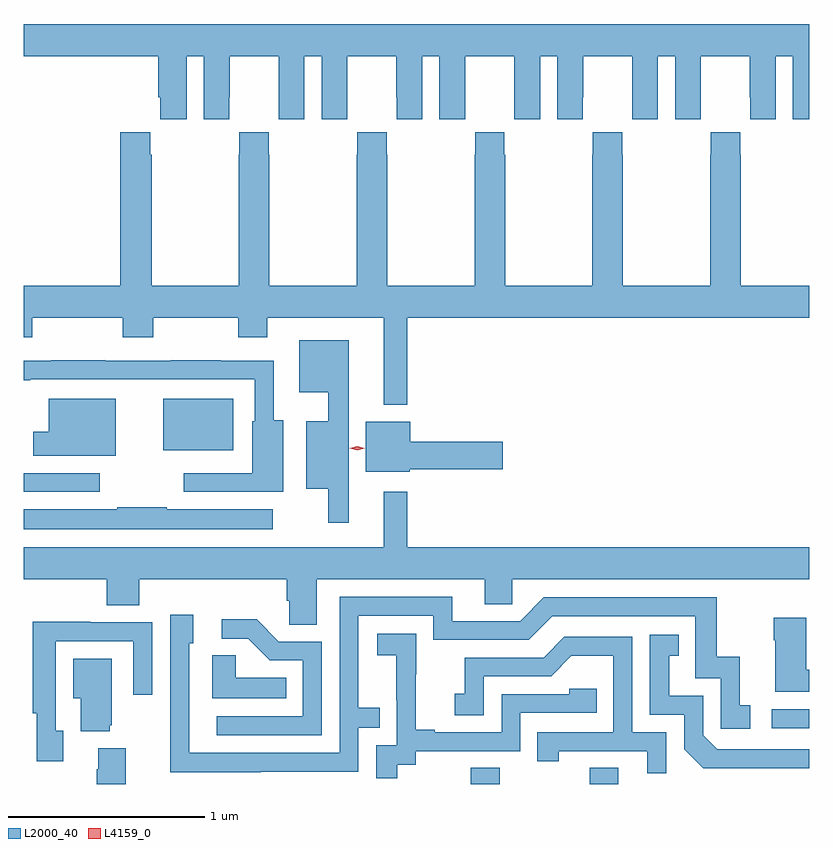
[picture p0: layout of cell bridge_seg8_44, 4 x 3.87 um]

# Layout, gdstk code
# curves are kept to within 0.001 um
import gdstk
lib = gdstk.Library(unit=1e-6, precision=1e-09)
def R(c, l, rs):  # rectangles x0, y0, x1, y1
    for r in rs: c.add(gdstk.rectangle(r[:2], r[2:], *l))
def P(c, l, *ps):  # polygons
    for p in ps: c.add(gdstk.Polygon(p, *l))
L2000_40 = (2000, 40)
L4159_0 = (4159, 0)

bridge_seg8_44 = lib.new_cell('bridge_seg8_44')
R(bridge_seg8_44, L2000_40, [(886.847,1098.142,886.995,1098.224), (887.452,1098.142,887.599,1098.224), (888.381,1098.426,888.571,1098.522), (884.571,1099.629,884.959,1099.725), (885.281,1099.841,885.637,1100.104)])
P(bridge_seg8_44, L2000_40, [(885.4,1101.848),(885.488,1101.848),(885.488,1101.528),(885.618,1101.528),(885.618,1101.64),(885.619,1101.64),(885.619,1101.848),(885.869,1101.848),(885.869,1101.64),(885.87,1101.64),(885.87,1101.528),(886,1101.528),(886,1101.848),(886.088,1101.848),(886.088,1101.528),(886.218,1101.528),(886.218,1101.64),(886.219,1101.64),(886.219,1101.848),(886.469,1101.848),(886.469,1101.64),(886.47,1101.64),(886.47,1101.528),(886.6,1101.528),(886.6,1101.848),(886.688,1101.848),(886.688,1101.528),(886.818,1101.528),(886.818,1101.64),(886.819,1101.64),(886.819,1101.848),(887.069,1101.848),(887.069,1101.64),(887.07,1101.64),(887.07,1101.528),(887.2,1101.528),(887.2,1101.848),(887.288,1101.848),(887.288,1101.528),(887.418,1101.528),(887.418,1101.64),(887.419,1101.64),(887.419,1101.848),(887.669,1101.848),(887.669,1101.64),(887.67,1101.64),(887.67,1101.528),(887.8,1101.528),(887.8,1101.848),(887.888,1101.848),(887.888,1101.528),(888.018,1101.528),(888.018,1101.64),(888.019,1101.64),(888.019,1101.848),(888.269,1101.848),(888.269,1101.64),(888.27,1101.64),(888.27,1101.528),(888.4,1101.528),(888.4,1101.848),(888.488,1101.848),(888.488,1101.528),(888.571,1101.528),(888.571,1102.012),(884.571,1102.012),(884.571,1101.848),(885.257,1101.848),(885.257,1101.64),(885.266,1101.64),(885.266,1101.528),(885.4,1101.528)],
  [(886.525,1100.516),(888.571,1100.516),(888.571,1100.68),(888.222,1100.68),(888.222,1101.347),(888.219,1101.347),(888.219,1101.46),(888.069,1101.46),(888.069,1101.347),(888.067,1101.347),(888.067,1100.68),(887.622,1100.68),(887.622,1101.347),(887.619,1101.347),(887.619,1101.46),(887.469,1101.46),(887.469,1101.347),(887.467,1101.347),(887.467,1100.68),(887.022,1100.68),(887.022,1101.347),(887.019,1101.347),(887.019,1101.46),(886.869,1101.46),(886.869,1101.347),(886.867,1101.347),(886.867,1100.68),(886.422,1100.68),(886.422,1101.347),(886.419,1101.347),(886.419,1101.46),(886.269,1101.46),(886.269,1101.347),(886.267,1101.347),(886.267,1100.68),(885.822,1100.68),(885.822,1101.347),(885.819,1101.347),(885.819,1101.46),(885.669,1101.46),(885.669,1101.347),(885.667,1101.347),(885.667,1100.68),(885.222,1100.68),(885.222,1101.347),(885.215,1101.347),(885.215,1101.46),(885.062,1101.46),(885.062,1100.68),(884.571,1100.68),(884.571,1100.417),(884.614,1100.417),(884.614,1100.516),(885.076,1100.516),(885.076,1100.417),(885.231,1100.417),(885.231,1100.516),(885.664,1100.516),(885.664,1100.417),(885.811,1100.417),(885.811,1100.516),(886.403,1100.516),(886.403,1100.072),(886.525,1100.072)],
  [(886.225,1100.401),(885.974,1100.401),(885.974,1100.138),(886.121,1100.138),(886.121,1099.99),(886.01,1099.99),(886.01,1099.646),(886.121,1099.646),(886.121,1099.473),(886.225,1099.473)],
  [(885.892,1099.993),(885.844,1099.993),(885.844,1100.298),(885.575,1100.298),(885.575,1100.3),(885.319,1100.3),(885.319,1100.298),(884.987,1100.298),(884.987,1100.3),(884.71,1100.3),(884.71,1100.298),(884.571,1100.298),(884.571,1100.197),(884.603,1100.197),(884.603,1100.202),(885.747,1100.202),(885.747,1099.989),(885.734,1099.989),(885.734,1099.725),(885.387,1099.725),(885.387,1099.629),(885.892,1099.629)],
  [(885.04,1100.104),(884.699,1100.104),(884.699,1099.936),(884.619,1099.936),(884.619,1099.814),(885.04,1099.814)],
  [(886.536,1099.744),(887.011,1099.744),(887.011,1099.886),(886.54,1099.886),(886.54,1099.987),(886.313,1099.987),(886.313,1099.733),(886.536,1099.733)],
  [(886.063,1099.184),(886.919,1099.184),(886.919,1099.057),(887.058,1099.057),(887.058,1099.184),(888.571,1099.184),(888.571,1099.348),(886.525,1099.348),(886.525,1099.63),(886.403,1099.63),(886.403,1099.348),(884.571,1099.348),(884.571,1099.184),(884.993,1099.184),(884.993,1099.051),(885.158,1099.051),(885.158,1099.184),(885.911,1099.184),(885.911,1099.075),(885.924,1099.075),(885.924,1098.952),(886.063,1098.952)],
  [(885.838,1099.54),(885.299,1099.54),(885.299,1099.55),(885.046,1099.55),(885.046,1099.54),(884.571,1099.54),(884.571,1099.439),(885.838,1099.439)],
  [(885.779,1098.204),(886.275,1098.204),(886.275,1098.429),(886.385,1098.429),(886.385,1098.53),(886.275,1098.53),(886.275,1098.999),(886.656,1098.999),(886.656,1098.876),(887.142,1098.876),(887.262,1098.996),(887.991,1098.996),(887.991,1098.681),(888.12,1098.681),(888.12,1098.423),(888.271,1098.423),(888.271,1098.543),(888.218,1098.543),(888.218,1098.79),(888.1,1098.79),(888.1,1099.092),(887.22,1099.092),(887.1,1098.972),(886.753,1098.972),(886.753,1099.095),(886.179,1099.095),(886.179,1098.3),(885.414,1098.3),(885.414,1098.858),(885.433,1098.858),(885.433,1099.003),(885.318,1099.003),(885.318,1098.509),(885.316,1098.509),(885.316,1098.203)],
  [(888.571,1098.725),(888.556,1098.725),(888.556,1098.988),(888.391,1098.988),(888.391,1098.875),(888.398,1098.875),(888.398,1098.611),(888.571,1098.611)],
  [(886.089,1098.867),(885.87,1098.867),(885.757,1098.98),(885.579,1098.98),(885.579,1098.882),(885.713,1098.882),(885.824,1098.771),(885.993,1098.771),(885.993,1098.486),(885.555,1098.486),(885.555,1098.39),(886.089,1098.39)],
  [(884.773,1098.414),(884.733,1098.414),(884.733,1098.87),(885.129,1098.87),(885.129,1098.597),(885.225,1098.597),(885.225,1098.966),(884.909,1098.966),(884.909,1098.968),(884.617,1098.968),(884.617,1098.502),(884.636,1098.502),(884.636,1098.258),(884.773,1098.258)],
  [(886.474,1098.241),(886.566,1098.241),(886.566,1098.309),(887.1,1098.309),(887.1,1098.504),(887.489,1098.504),(887.489,1098.627),(887.349,1098.627),(887.349,1098.6),(887.004,1098.6),(887.004,1098.405),(886.663,1098.405),(886.663,1098.418),(886.568,1098.418),(886.568,1098.701),(886.569,1098.701),(886.569,1098.907),(886.371,1098.907),(886.371,1098.797),(886.469,1098.797),(886.469,1098.569),(886.47,1098.569),(886.47,1098.339),(886.365,1098.339),(886.365,1098.171),(886.474,1098.171)],
  [(888.44,1098.222),(888.571,1098.222),(888.571,1098.318),(888.102,1098.318),(888.03,1098.39),(888.03,1098.591),(887.857,1098.591),(887.857,1098.795),(887.906,1098.795),(887.906,1098.901),(887.76,1098.901),(887.76,1098.495),(887.934,1098.495),(887.934,1098.318),(888.032,1098.221)],
  [(887.844,1098.405),(887.67,1098.405),(887.67,1098.891),(887.324,1098.891),(887.219,1098.786),(886.816,1098.786),(886.816,1098.601),(886.767,1098.601),(886.767,1098.492),(886.914,1098.492),(886.914,1098.69),(887.256,1098.69),(887.36,1098.794),(887.574,1098.794),(887.574,1098.405),(887.185,1098.405),(887.185,1098.258),(887.296,1098.258),(887.296,1098.309),(887.747,1098.309),(887.747,1098.198),(887.844,1098.198)],
  [(885.908,1098.682),(885.651,1098.682),(885.651,1098.797),(885.53,1098.797),(885.53,1098.578),(885.908,1098.578)],
  [(885.008,1098.441),(885.019,1098.441),(885.019,1098.781),(884.822,1098.781),(884.822,1098.578),(884.861,1098.578),(884.861,1098.41),(885.008,1098.41)],
  [(885.091,1098.325),(884.951,1098.325),(884.951,1098.218),(884.944,1098.218),(884.944,1098.142),(885.091,1098.142)])
P(bridge_seg8_44, L4159_0, [(886.269,1099.842),(886.23,1099.851),(886.23,1099.852),(886.23,1099.852),(886.269,1099.862),(886.307,1099.852),(886.308,1099.852),(886.307,1099.852)])

lib.write_gds('bridge_seg8_44.gds')
